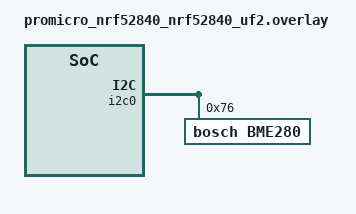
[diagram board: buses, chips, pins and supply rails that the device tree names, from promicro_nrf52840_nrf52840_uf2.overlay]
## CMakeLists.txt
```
cmake_minimum_required(VERSION 3.20.0)
find_package(Zephyr REQUIRED HINTS $ENV{ZEPHYR_BASE})

project(l6_e1)

target_sources(app PRIVATE src/main.c src/app_i2c.c src/bmx280.c)
```

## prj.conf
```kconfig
CONFIG_LOG=y
CONFIG_I2C=y    # Enable the i2c driver
#CONFIG_SENSOR=y # Not actually needed for this example
#CONFIG_BME280=y # Not actually needed for this example
CONFIG_CBPRINTF_FP_SUPPORT=y
#CONFIG_LOG_MODE_MINIMAL=y

# 1. Total byte allocation pool for deferred strings
CONFIG_LOG_BUFFER_SIZE=8192

# 2. Allocate distinct tracking blocks rather than a raw continuous ring
CONFIG_LOG_BLOCK_IN_THREAD=y
CONFIG_LOG_BLOCK_IN_THREAD_TIMEOUT_MS=500
```

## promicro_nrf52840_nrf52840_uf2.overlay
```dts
/* For more help, browse the devicetree documentation at https://docs.zephyrproject.org/latest/build/dts/index.html
 * You can also visit the nRF DeviceTree extension documentation at https://docs.nordicsemi.com/bundle/nrf-connect-vscode/page/guides/ncs_configure_app.html#devicetree-support-in-the-extension
 */

&i2c0 {
    status = "okay";
    bme280: bme280@76 {
	compatible = "bosch,bme280";
	status = "okay";
	reg = <0x76>; // Slave addr register depends on board since LSB of BME280 is configurable. This assumes the LSB is 0 via driving A0 pin low.
    };
};
```

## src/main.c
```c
#include <zephyr/kernel.h>
#include <zephyr/device.h>
#include <zephyr/devicetree.h>
#include <zephyr/logging/log.h>
#include <zephyr/logging/log_ctrl.h> // <-- Required for log_process()
#include "app_i2c.h"
#include "bmx280.h"

#define SLEEP_TIME_MS 100

// Note:
// Pinout of pro micro is defined here: C:\ncs\v3.3.0\zephyr\boards\others\promicro_nrf52840\promicro_nrf52840-pinctrl.dtsi
// I2C0 SDA is pin 1.00, SCL is pin 0.11
// Wire a BME280 sensor to the I2C0 pins for this example

// Didn't have the dev board they wanted for either example in this section, so I went a bit overkill and just ported my RPI BMX280 API
// For use with Zephyr... Just had to modify all the API functions to work with the Zephyr implementation of i2c driver

#define I2C0_NODE DT_NODELABEL(bme280) // This is why I can pass dev_i2c to all BMX280 API functions and not have to worry about the slave address
static const struct i2c_dt_spec dev_i2c = I2C_DT_SPEC_GET(I2C0_NODE);

LOG_MODULE_REGISTER(l6_e1, LOG_LEVEL_DBG); // max log level of LOG_LEVEL_DBG makes all log levels available, including LOG_INF, LOG_ERR, LOG_WRN, LOG_DBG

/*
Module registration can be skipped in two cases:

- The module consists of more than one file, and another file invokes this macro. (LOG_MODULE_DECLARE() should be used instead in all of the 
module's other files.) 
- Instance logging is used and there is no need to create module entry. In that case LOG_LEVEL_SET() should be used to set log level used within 
the file.
*/

int main(void) {

        int32_t temp;
        uint32_t press;
        uint32_t hum;
        bmx280_osrs_t temp_osrs = BMX280_OVERSAMP_X1;
        bmx280_osrs_t press_osrs = BMX280_SKIP_MEAS;
        bmx280_osrs_t hum_osrs = press_osrs;

        const extern bmx280_config_t bmx280_indoor_nav_cfg;
        const extern bmx280_config_t bmx280_weather_mon_cfg;        

        //bmx280_config_t myCfg = {BMX280_PWR_MODE_NORM, BMX280_TSTDBY_0_5MS, BMX280_FILT_OFF, temp_osrs, press_osrs, hum_osrs};
        //bmx280_config_t myCfg = bmx280_indoor_nav_cfg; // Works fine
        bmx280_config_t myCfg = bmx280_weather_mon_cfg;

        k_msleep(2000); // Give time to reconnect to USB VCOM after reset

        LOG_INF("NRF52840 setup complete\n");

        /*
        Interesting behavior observed
        With full LOG module, lots of messages sent quickly are thrown out (i.e. for the BME280 startup sequence, reporting out all the trim reg values)
        When this occurs, a LOG ERR is printed and reports that XX messages were thrown out (where XX is some number)
        This only occurs for the rapid fire logs right at startup, the 100ms separated logs in the main loop all report fine...

        With minimal LOG module (CONFIG_LOG_MODE_MINIMAL=y in prj.conf), the LOGS all show up during startup sequence
        This may be because log minimal adjusts the rate limit? Although the KCONFIG GUI doesnt show any difference...

        ^^ Actually, its because LOG_MINIMAL implementation does not defer the console prints, which is not what I want
        Instead I could allow new logs to overwrite old ones in the ring buffer or expand the memory allocation for the ring buffer
        Still not perfect, not really sure what would fix it, but not an issue for now.
        */

        bmx280_self_test_result_t result = BMX280_OK;
        bmx280_self_test(&dev_i2c, &myCfg, &result);
        LOG_INF("Err %d: BMX280 self test %s.", result, result == BMX280_OK ? "PASSED" : "FAILED");
        //if (*result == BMX280_COMM_ERR_OR_WRONG_DEV) printf("Cannot access register 0x%X for CRC check.\n\n", BME280_CRC_DATA_ADDR);
        //else printf("\n");

        k_msleep(2);

        bmx280_init(&dev_i2c, &myCfg, false);

        k_msleep(100);

        while(1) {

                bmx280_read_measurements(&dev_i2c, &myCfg, &temp, &press, &hum);

                // Note: looks like log automatically applies a newline
                // Not sure how to disable this beyond using LOG_RAW() or LOG_PRINTK() or setting kconfig option for minimal implementation (CONFIG_LOG_MODE_MINIMAL=y)... not my fav but also was just curious
                LOG_INF("Pressure (Pa): %.2f Temperature (°F): %.2f Humidity (%%): %.2f", press/256.0, C_2_F(temp/100.0), hum/1024.0);
                k_msleep(SLEEP_TIME_MS);
        }

        return 0;
}
```

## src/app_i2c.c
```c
#include "app_i2c.h"

/**
 * Initialize an I2C peripheral for use as a master/controller.
 * Note that the specified SDA and SCL pins must support the selected I2C
 * peripheral instance and no error checking is performed to ensure this.
 * @param[in]  i2c        I2C peripheral instance.
 * @param[in]  scl        Pin number for SCL pin.
 * @param[in]  sda        Pin number for SDA pin.
 * @param[in]  fclk       Bit rate for I2C transmissions. 
 * @param[in]  puen       Enable internal pullups.
 * 
 * @return None
 */   

/* void app_i2c_init(i2c_dt_spec * i2c, const uint8_t scl, const uint8_t sda, const uint32_t fclk, const bool puen) {

    int err = PICO_ERROR_NONE;

    i2c_init(i2c, fclk); // 400kHz

    gpio_set_function(sda, GPIO_FUNC_I2C);
    gpio_set_function(scl, GPIO_FUNC_I2C);

    if (puen) {
        gpio_pull_up(sda);
        gpio_pull_up(scl); 
    }
}*/

/**
 * Read a number of registers from an I2C slave. 
 * @param[in]  i2c        I2C peripheral instance.
 * @param[in]  reg_addr   Register address to begin reading from.
 * @param[out] buff       Destination buffer for received data. Must be at least as large as nbytes.
 * @param[in]  nbytes     Number of bytes to read. Use a number > 1 for burst reads.
 * 
 * @return ENONE on success, -EIO on failure.
 */  
nrf_err_t i2c_reg_read(const struct i2c_dt_spec * i2c, const uint8_t reg_addr, uint8_t * buff, const size_t nbytes) {

    int ret = ENONE;

    if (buff == NULL || nbytes == 0) return -EGENERIC;

    //int ret = i2c_write_blocking(i2c, slave_addr, &reg_addr, 1, true); // this is the handle for rpi pico sdk
    //if (ret != 1) return PICO_ERROR_GENERIC;

    //ret = i2c_read_blocking(i2c, slave_addr, buff, nbytes, false); // this is the handle for rpi pico sdk

    switch(nbytes) {
        // 0 case is handled by the check at the top of the function
        case 1:
            // Returns a negative value on error (-EIO General input / output error), returns 0 on success
            ret = i2c_reg_read_byte_dt(i2c, reg_addr, buff);
            break;
        default:
            ret = i2c_burst_read_dt(i2c, reg_addr, buff, nbytes);
            break;
    }

    //ret = i2c_burst_read_dt(i2c, reg_addr, buff, nbytes);
    //if (ret != (int)nbytes) return PICO_ERROR_GENERIC;
    
    return ret;
}

/**
 * Write to a number of registers on an I2C slave.
 * @param[in]  i2c        I2C peripheral instance.
 * @param[in]  reg_addr   Register address to begin writing to.
 * @param[in]  data       Data to transmit. Must be at least as large as nbytes.
 * @param[in]  nbytes     Number of bytes to write. Use a number > 1 for burst writes.
 * 
 * @return ENONE on success, -EIO on failure.
 */  
nrf_err_t i2c_reg_write(const struct i2c_dt_spec * i2c, const uint8_t reg_addr, const uint8_t * data, const size_t nbytes) {

    // Does it actually make sense to pass nbytes here? When would we write multiple bytes?
    
    if (nbytes > I2C_BUFF_SIZE_MAX || data == NULL || nbytes == 0) return -EGENERIC;

    uint8_t src[nbytes + 1]; // VLA used to avoid a fixed-size temporary buffer

    src[0] = reg_addr;
    memcpy(&src[1], data, nbytes);

    //int ret = i2c_write_blocking(i2c, slave_addr, src, nbytes + 1, false);
    //if (ret != (int)(nbytes + 1)) return PICO_ERROR_GENERIC;

    // Returns a negative value on error (-EIO General input / output error), returns 0 on success
    int ret = i2c_write_dt(i2c, src, nbytes + 1);
    
    return ret;
}
```

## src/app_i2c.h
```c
#ifndef APP_I2C_H
#define APP_I2C_H

//#include "hardware/i2c.h"
//#include "pico/binary_info.h"
//#include "pico/stdlib.h"
#include <zephyr/drivers/i2c.h>
#include <string.h> // For memcpy()
#include "util.h"

#define I2C_SPEED_SM     100000  ///< Standard mode speed (kbit/s)
#define I2C_SPEED_FM     400000  ///< Fast mode speed (kbit/s)
#define I2C_SPEED_FMPLUS 1000000 ///< Fm+ speed (kbit/s)
#define I2C_SPEED_HS     3400000 ///< High speed (kbit/s) 
#define I2C_SPEED_UFM    5000000 ///< Ultra fast mode speed (kbit/s)

#define I2C_BUFF_SIZE_MAX 32

//void app_i2c_init(i2c_dt_spec * i2c, const uint8_t scl, const uint8_t sda, const uint32_t fclk, const bool puen);
// No runtime init function is needed at this time
nrf_err_t i2c_reg_read(const struct i2c_dt_spec * i2c, const uint8_t reg_addr, uint8_t * buff, const size_t nbytes);
nrf_err_t i2c_reg_write(const struct i2c_dt_spec * i2c, const uint8_t reg_addr, const uint8_t * data, const size_t nbytes);

#endif // APP_I2C_H
```

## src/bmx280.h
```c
#ifndef BMX280_H
#define BMX280_H

#include "app_i2c.h"
#include "util.h"
#include <zephyr/kernel.h>      // for k_msleep()
#include <zephyr/logging/log.h> // for logging capability

// Note: BME280 contains humidity sensor. BMP280 does not.
// BMX stands for either BME or BMP - these values are valid for either device
// Where a feature is only relevant for one device or the other, the register is referred to as BME280 or BMP280

// BME280: https://www.bosch-sensortec.com/media/boschsensortec/downloads/datasheets/bst-bme280-ds002.pdf
// BMP280: https://www.bosch-sensortec.com/media/boschsensortec/downloads/datasheets/bst-bmp280-ds001.pdf

typedef int32_t BMX280_S32_t;
typedef uint32_t BMX280_U32_t;
typedef long long int BMX280_S64_t;

#define BMX280_I2C true // True for I2C, false for SPI
#define BMX280_SPI !BMX280_I2C
//#define BMX280_SPI_PORT spi0

#define BMX280_SLAVE_ADDR 0x76 // Value dependent on SDO voltage. Addr = 0x76 |= SDO. Cannot be left floating.

// Contains the chip identification number chip_id[7:0], which is 0x58 for BMP280 and
// 0x60 for BME280. This number can be read as soon as the device finished the power-on-reset.
#define BMX280_REG_ID         0xD0 // Read only
#define BMP280_REG_ID_VAL     0x58
#define BME280_REG_ID_VAL     0x60

// Contains the soft reset word reset[7:0]. If the value 0xB6 is written to the register,
// the device is reset using the complete power-on-reset procedure. Writing other values than 0xB6 has
// no effect. The readout value is always 0x00.
#define BMX280_REG_RESET       0xE0 // Write only
#define BMX280_REG_RESET_VALUE 0xB6

// Contains two bits which indicate the status of the device. Bit 3 is automatically set to '1'
// whenever a conversion is running and back to '0' when results have been transferred to the data
// registers. Bit 0 is automatically set to '1'  when the NVM data are being copied to image 
// registers and back to ‘0’ when the copying is done. The data are copied at power-on-reset 
// and before every conversion.
#define BMX280_REG_STATUS         0xF3 // Read only
#define BMX280_REG_STATUS_MEAS_BIT_POS 3 
#define BMX280_REG_STATUS_IMG_BIT_POS  0
typedef enum {
    BMX280_WAITING               = 0,
    BMX280_MEASURING             = 1,
    BMX280_IMAGING               = 2,
    BMX280_MEASURING_AND_IMAGING = 3
} bmx280_status_t;

// Sets the data acquisition options of the device. Bits [7:5] controls oversampling for temperature.
// Bits [4:2] controls oversampling for pressure. Bits [1:0] control the power mode of the device.
#define BMX280_REG_CTRL_MEAS      0xF4 // R/W
#define BME280_REG_CTRL_HUM       0xF2

// Oversampling settings (bits [7:5] and [4:2])
#define BMX280_REG_CTRL_MEAS_T_BIT_POS 5 // Ensure only writing 3 bit data
#define BMX280_REG_CTRL_MEAS_P_BIT_POS 2 // Ensure only writing 3 bit data
#define BME280_REG_CTRL_MEAS_H_BIT_POS 0 // Ensure only writing 3 bit data
typedef enum {
    BMX280_SKIP_MEAS    = 0,
    BMX280_OVERSAMP_X1  = 1,
    BMX280_OVERSAMP_X2  = 2,
    BMX280_OVERSAMP_X4  = 3,
    BMX280_OVERSAMP_X8  = 4,
    BMX280_OVERSAMP_X16 = 5
} bmx280_osrs_t;

// Power settings (bits [1:0])
#define BMX280_REG_CTRL_MEAS_PWR_BIT_POS 0  // Ensure only writing 2 bit data
typedef enum {
    BMX280_PWR_MODE_SLP  = 0,
    BMX280_PWR_MODE_FRC  = 1,
    BMX280_PWR_MODE_NORM = 3
} bmx280_mode_t;

// Sets the rate, filter and interface options of the device. Writes to the “config”
// register in normal mode may be ignored. In sleep mode writes are not ignored.
// Bits [7:5] set the inactive duration / tstandby in normal mode.
// Bits [4:2] control the time constant of the IIR filter
// Bit 0 enables 3-wire SPI interface when set to '1'
#define BMX280_REG_CONFIG     0xF5 // R/W 

// Tstdby settings
#define BMX280_REG_CONFIG_TSTDBY_BIT_POS 5
typedef enum {
    BMX280_TSTDBY_0_5MS   = 0b000,
    BMX280_TSTDBY_62_5MS  = 0b001,
    BMX280_TSTDBY_125MS   = 0b010,
    BMX280_TSTDBY_250MS   = 0b011,
    BMX280_TSTDBY_500MS   = 0b100,
    BMX280_TSTDBY_1000MS  = 0b101,
    BMP280_TSTDBY_2000MS  = 0b110,
    BMP280_TSTDBY_4000MS  = 0b111,
    BME280_TSTDBY_10MS    = 0b110,
    BME280_TSTDBY_20MS    = 0b111
} bmx280_tsdby_t;

// Filter settings
#define BMX280_REG_CONFIG_FILT_BIT_POS 2
typedef enum {
    BMX280_FILT_OFF      = 0,
    BMX280_FILT_COEFF_2  = 1,
    BMX280_FILT_COEFF_4  = 2,
    BMX280_FILT_COEFF_8  = 3,
    BMX280_FILT_COEFF_16 = 4
} bmx280_filter_t;

// Contains the raw pressure measurement output data up[19:0]
#define BMX280_REG_PRESS_MSB  0xF7 // Read only, bits [19:12] of pressure data
#define BMX280_REG_PRESS_LSB  0xF8 // Read only, bits [11:4] of pressure data
#define BMX280_REG_PRESS_XLSB 0xF9 // Read only, bits [3:0] of pressure data exist in bits [7:4] of this register
#define BMX280_PRESS_RAW_LEN 3

// Contains the raw temperature measurement output data ut[19:0]
#define BMX280_REG_TEMP_MSB   0xFA // Read only, bits [19:12] of temperature data
#define BMX280_REG_TEMP_LSB   0xFB // Read only, bits [11:4] of temperature data
#define BMX280_REG_TEMP_XLSB  0xFC // Read only, bits [3:0] of temperature data exist in bits [7:4] of this register
#define BMX280_TEMP_RAW_LEN  3

// Contains the raw humidity measurement output data uh[15:0]
#define BME280_REG_HUM_MSB 0xFD // Read only, bits [15:8] of humidity data
#define BME280_REG_HUM_LSB 0xFE // Read only, bits [7:0] of humidity data
#define BME280_HUM_RAW_LEN   2

/*
Temperature measurement can be enabled or skipped. Skipping the measurement could be useful to
measure pressure extremely rapidly. When enabled, several oversampling options exist. Each
oversampling step reduces noise and increases the output resolution by one bit, which is stored in the
XLSB data register 0xFC. Enabling/disabling the temperature measurement and oversampling setting
are selected through the osrs_t[2:0] bits in control register 0xF4.
*/


// The trimming parameters are programmed into the devices’ non-volatile memory (NVM) during
// production and cannot be altered by the customer. Each compensation word is a 16-bit signed or
// unsigned integer value stored in two’s complement. As the memory is organized into 8-bit words, two
// words must always be combined in order to represent the compensation word. The 8-bit registers are
// named calib00…calib25 and are stored at memory addresses 0x88…0xA1. The corresponding
// compensation words are named dig_T# for temperature compensation related values and dig_P# for
// pressure compensation related values. The mapping is shown in Table 17.
#define BMX280_REG_CALIB00 0x88
#define BMX280_REG_CALIB01 0x89 
#define BMX280_REG_CALIB02 0x8A
#define BMX280_REG_CALIB03 0x8B
#define BMX280_REG_CALIB04 0x8C
#define BMX280_REG_CALIB05 0x8D
#define BMX280_REG_CALIB06 0x8E
#define BMX280_REG_CALIB07 0x8F
#define BMX280_REG_CALIB08 0x90
#define BMX280_REG_CALIB09 0x91
#define BMX280_REG_CALIB10 0x92
#define BMX280_REG_CALIB11 0x93
#define BMX280_REG_CALIB12 0x94
#define BMX280_REG_CALIB13 0x95
#define BMX280_REG_CALIB14 0x96
#define BMX280_REG_CALIB15 0x97
#define BMX280_REG_CALIB16 0x98
#define BMX280_REG_CALIB17 0x99
#define BMX280_REG_CALIB18 0x9A
#define BMX280_REG_CALIB19 0x9B
#define BMX280_REG_CALIB20 0x9C
#define BMX280_REG_CALIB21 0x9D
#define BMX280_REG_CALIB22 0x9E
#define BMX280_REG_CALIB23 0x9F
#define BMX280_REG_CALIB24 0xA0 // Unused / reserved in BMX280
#define BMX280_REG_CALIB25 0xA1 // Unused / reserved in BMP280 only
#define BMX280_REG_CALIB26 0xE1
#define BMX280_REG_CALIB27 0xE2
#define BMX280_REG_CALIB28 0xE3
#define BMX280_REG_CALIB29 0xE4
#define BMX280_REG_CALIB30 0xE5
#define BMX280_REG_CALIB31 0xE6
#define BMX280_REG_CALIB32 0xE7
#define BMX280_REG_CALIB33 0xE8
#define BMX280_REG_CALIB34 0xE9
#define BMX280_REG_CALIB35 0xEA
#define BMX280_REG_CALIB36 0xEB
#define BMX280_REG_CALIB37 0xEC
#define BMX280_REG_CALIB38 0xED
#define BMX280_REG_CALIB39 0xEE
#define BMX280_REG_CALIB40 0xEF
#define BMX280_REG_CALIB41 0xF0

// Compensation parameter storage (temperature), 16 bit words stored in adjacent 8 bit registers, LSB at lower addr
#define BMX280_REG_DIG_T1 BMX280_REG_CALIB00 // Unsigned short
#define BMX280_REG_DIG_T2 BMX280_REG_CALIB02 // Signed short
#define BMX280_REG_DIG_T3 BMX280_REG_CALIB04 // Signed short

// Compensation parameter storage (pressure), 16 bit words stored in adjacent 8 bit registers, LSB at lower addr
#define BMX280_REG_DIG_P1 BMX280_REG_CALIB06 // Unsigned short
#define BMX280_REG_DIG_P2 BMX280_REG_CALIB08 // Signed short
#define BMX280_REG_DIG_P3 BMX280_REG_CALIB10 // Signed short
#define BMX280_REG_DIG_P4 BMX280_REG_CALIB12 // Signed short
#define BMX280_REG_DIG_P5 BMX280_REG_CALIB14 // Signed short
#define BMX280_REG_DIG_P6 BMX280_REG_CALIB16 // Signed short
#define BMX280_REG_DIG_P7 BMX280_REG_CALIB18 // Signed short
#define BMX280_REG_DIG_P8 BMX280_REG_CALIB20 // Signed short
#define BMX280_REG_DIG_P9 BMX280_REG_CALIB22 // Signed short

// Compensation parameter storage (humidity), 16 bit words stored in adjacent 8 bit registers, LSB at lower addr
#define BME280_REG_DIG_H1 BMX280_REG_CALIB25 // Unsigned char
#define BME280_REG_DIG_H2 BMX280_REG_CALIB26 // Signed short
#define BME280_REG_DIG_H3 BMX280_REG_CALIB28 // Unsigned char
#define BME280_REG_DIG_H4 BMX280_REG_CALIB29 // Signed short (11 bits, use only bits [3:0] from 0xE5)
#define BME280_REG_DIG_H5 BMX280_REG_CALIB30 // Signed short (11 bits, use only bits [7:4] from 0xE5)
#define BME280_REG_DIG_H6 BMX280_REG_CALIB32 // Signed char

// Pack the MSB, LSB, and XLSB register values into a 32 bit signed int
#define BMX280_PACK_DATA_20BIT(MSB, LSB, XLSB) (int32_t)((uint32_t)MSB << 12 | (uint32_t)LSB << 4 | ((uint32_t)XLSB >> 4))
#define BME280_PACK_DATA_16BIT(MSB, LSB)       (int32_t)((uint32_t)MSB << 8 | (uint32_t)LSB << 0)
#define PASCAL_2_ATM(pascal) (double)(pascal * 9.86923 * 1/1000000) // Use to convert pressure values from BMP280 to units of ATM
#define C_2_F(c) (double)(c * 9/5 + 32)

/**\name API warning code */
// tHESE ARE FROM BOSCH
#define BME280_W_SELF_TEST_FAIL INT8_C(2)
#define BME280_CRC_DATA_ADDR	UINT8_C(0xE8)
#define BME280_CRC_DATA_LEN	    UINT8_C(1)
#define BME280_CRC_CALIB1_ADDR	UINT8_C(0x88)
#define BME280_CRC_CALIB1_LEN	UINT8_C(26)
#define BME280_CRC_CALIB2_ADDR	UINT8_C(0xE1)
#define BME280_CRC_CALIB2_LEN	UINT8_C(7)

typedef enum {
    BMP280 = 0x58, // 0x58 in device ID register @ addr 0xD0
    BME280 = 0x60, // 0x60 in device ID register @ addr 0xD0
    UNKNOWN        // Device ID register has not yet been read
} bmx280_dev_t;

typedef struct {
    bmx280_mode_t mode;
    bmx280_tsdby_t tsdby;
    bmx280_filter_t filt;
    bmx280_osrs_t osrs_temp; 
    bmx280_osrs_t osrs_press;
    bmx280_osrs_t osrs_hum;
    bmx280_dev_t dev;
} bmx280_config_t;

// See section 10 in BME280 datasheet rev1.23 for implementation details
// If necessary, adapt the measurement plausibility limits per your environment
// Keep in mind also the recommended anneal/rest period following reflow solder attach
// See section 7.9 "Reconditioning Procedure"
typedef enum {
    BMX280_OK                      = 0,
    BMX280_COMM_ERR_OR_WRONG_DEV   = 10,
    BMX280_TRIM_DATA_OOB           = 20,
    BMX280_TEMP_BW_OR_MEMS_DEFECT  = 30,
    BMX280_PRESS_BW_OR_MEMS_DEFECT = 31,
    BMX280_HUM_BW_OR_MEMS_DEFECT   = 32, // Added on my own volition
    BMX280_IMPLAUSIBLE_TEMP        = 40, // Default limits are 0-40C
    BMX280_IMPLAUSIBLE_PRESS       = 41, // Default limits are 900-1100hPa
    BMX280_IMPLAUSIBLE_HUM         = 42  // Default limits are 20-80%rH
} bmx280_self_test_result_t;

// Compensation functions provided by Bosch in BMX280 datasheet
BMX280_S32_t bmx280_compensate_T_int32(BMX280_S32_t adc_T);
BMX280_U32_t bmx280_compensate_P_int64(BMX280_S32_t adc_P);
BMX280_U32_t bme280_compensate_H_int32(BMX280_S32_t adc_H); // Only relevant for BME280 (BMP280 doesnt have humidity option)

nrf_err_t bmx280_init(const struct i2c_dt_spec * i2c, bmx280_config_t * cfg, bool rst);
nrf_err_t bmx280_sw_reset(const struct i2c_dt_spec * i2c);
nrf_err_t bmx280_check_status(const struct i2c_dt_spec * i2c, bmx280_config_t * cfg, bmx280_status_t * status);
nrf_err_t bmx280_set_mode(const struct i2c_dt_spec * i2c, bmx280_config_t * cfg);
nrf_err_t bmx280_self_test(const struct i2c_dt_spec * i2c, bmx280_config_t * cfg, bmx280_self_test_result_t * result);
/*make these static?*/
// Chip wants to be burst read for all 3 measurement peripherals when being used... 
// If we want to be able to config for normal mode or frc mode and forget, should have one 
// single public call in the API which accomplishes all three, pending the actual dev config.
nrf_err_t bmx280_read_temp(const struct i2c_dt_spec * i2c, bmx280_config_t * cfg, int32_t * temp);
nrf_err_t bmx280_read_press(const struct i2c_dt_spec * i2c, bmx280_config_t * cfg, uint32_t * press);
nrf_err_t bme280_read_hum(const struct i2c_dt_spec * i2c, bmx280_config_t * cfg, uint32_t * hum);
nrf_err_t bmx280_read_measurements(const struct i2c_dt_spec * i2c, bmx280_config_t * cfg, int32_t * temp, uint32_t * press, uint32_t * hum);

/*!
 * @brief This API reads the stored CRC and then compare with calculated CRC
 *
 * @param[in] dev : Structure instance of bme280_dev.
 *
 * @return Result of API execution status
 * @retval zero -> Success / +ve value -> Warning / -ve value -> Error
 */
//int8_t bme280_crc_selftest(const struct bme280_dev *dev);
bmx280_self_test_result_t bme280_crc_selftest(const struct i2c_dt_spec * i2c);

#endif // BMX280_H
```

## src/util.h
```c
#ifndef UTIL_H
#define UTIL_H

#include <math.h>
#include <errno.h> // For Zephyr error codes

typedef int nrf_err_t;

#define ENONE    0    // No error
#define EGENERIC 2001 // sys/errno.h defines __ELASTERROR 2000 and specifies custom error codes can be defined starting at 2001. This is a generic error code for use in application where no specific error code applies.

#endif // UTIL_H
```
